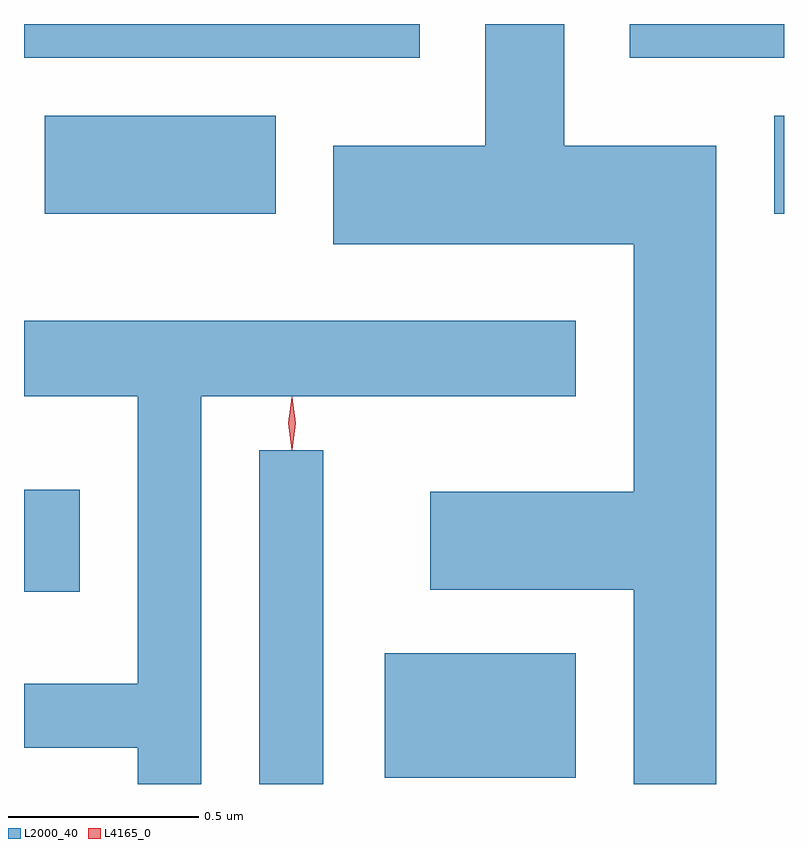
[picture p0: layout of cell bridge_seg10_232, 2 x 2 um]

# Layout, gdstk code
import gdstk
lib = gdstk.Library(unit=1e-6, precision=1e-09)
def R(c, l, rs):  # rectangles x0, y0, x1, y1
    for r in rs: c.add(gdstk.rectangle(r[:2], r[2:], *l))
def P(c, l, *ps):  # polygons
    for p in ps: c.add(gdstk.Polygon(p, *l))
L2000_40 = (2000, 40)
L4165_0 = (4165, 0)

bridge_seg10_232 = lib.new_cell('bridge_seg10_232')
R(bridge_seg10_232, L2000_40, [(1742.841,2141.295,1743.009,2142.173), (1743.171,2141.311,1743.674,2141.639), (1742.222,2141.801,1742.369,2142.069), (1742.276,2142.796,1742.884,2143.054), (1744.196,2142.796,1744.222,2143.054), (1742.222,2143.206,1743.264,2143.295), (1743.816,2143.206,1744.222,2143.295)])
P(bridge_seg10_232, L2000_40, [(1744.044,2142.974),(1743.644,2142.974),(1743.644,2143.295),(1743.436,2143.295),(1743.436,2142.974),(1743.036,2142.974),(1743.036,2142.716),(1743.826,2142.716),(1743.826,2142.064),(1743.291,2142.064),(1743.291,2141.806),(1743.826,2141.806),(1743.826,2141.295),(1744.044,2141.295)],
  [(1742.689,2142.316),(1743.674,2142.316),(1743.674,2142.514),(1742.222,2142.514),(1742.222,2142.316),(1742.521,2142.316),(1742.521,2141.559),(1742.222,2141.559),(1742.222,2141.391),(1742.521,2141.391),(1742.521,2141.295),(1742.689,2141.295)])
P(bridge_seg10_232, L4165_0, [(1742.927,2142.178),(1742.927,2142.178),(1742.917,2142.244),(1742.927,2142.311),(1742.927,2142.311),(1742.928,2142.311),(1742.937,2142.244),(1742.928,2142.178)],
  [(1742.927,2142.174),(1742.927,2142.175),(1742.917,2142.244),(1742.927,2142.313),(1742.927,2142.314),(1742.928,2142.313),(1742.937,2142.244),(1742.928,2142.175)])

lib.write_gds('bridge_seg10_232.gds')
